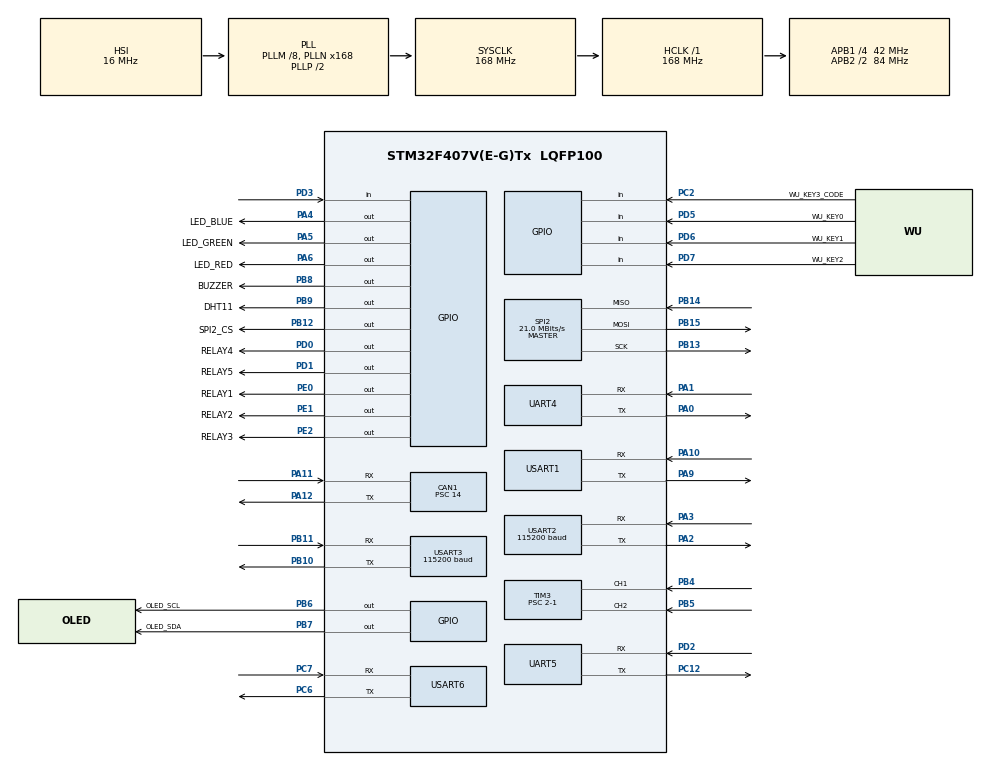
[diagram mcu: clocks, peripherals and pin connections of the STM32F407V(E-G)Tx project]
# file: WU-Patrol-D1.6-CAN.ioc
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CAN1.AWUM=ENABLE
CAN1.BS1=CAN_BS1_15TQ
CAN1.BS2=CAN_BS2_8TQ
CAN1.CalculateBaudRate=124999
CAN1.CalculateTimeBit=8000
CAN1.CalculateTimeQuantum=333.33333333333337
CAN1.Mode=CAN_MODE_NORMAL
CAN1.NART=ENABLE
CAN1.Prescaler=14
CAN1.SJW=CAN_SJW_1TQ
Dma.Request0=USART1_RX
Dma.Request1=USART1_TX
Dma.Request10=USART6_RX
Dma.Request11=USART6_TX
Dma.Request2=USART3_RX
Dma.Request3=USART3_TX
Dma.Request4=USART2_RX
Dma.Request5=USART2_TX
Dma.Request6=UART4_RX
Dma.Request7=UART4_TX
Dma.Request8=UART5_RX
Dma.Request9=UART5_TX
Dma.UART4_RX.6.Direction=DMA_PERIPH_TO_MEMORY
Dma.UART4_RX.6.FIFOMode=DMA_FIFOMODE_DISABLE
Dma.UART4_RX.6.Instance=DMA1_Stream2
Dma.UART4_RX.6.MemDataAlignment=DMA_MDATAALIGN_BYTE
Dma.UART4_RX.6.MemInc=DMA_MINC_ENABLE
Dma.UART4_RX.6.Mode=DMA_CIRCULAR
Dma.UART4_RX.6.PeriphDataAlignment=DMA_PDATAALIGN_BYTE
Dma.UART4_RX.6.PeriphInc=DMA_PINC_DISABLE
Dma.UART4_RX.6.Priority=DMA_PRIORITY_LOW
Dma.UART4_TX.7.Direction=DMA_MEMORY_TO_PERIPH
Dma.UART4_TX.7.FIFOMode=DMA_FIFOMODE_DISABLE
Dma.UART4_TX.7.Instance=DMA1_Stream4
Dma.UART4_TX.7.MemDataAlignment=DMA_MDATAALIGN_BYTE
Dma.UART4_TX.7.MemInc=DMA_MINC_ENABLE
Dma.UART4_TX.7.Mode=DMA_NORMAL
Dma.UART4_TX.7.PeriphDataAlignment=DMA_PDATAALIGN_BYTE
Dma.UART4_TX.7.PeriphInc=DMA_PINC_DISABLE
Dma.UART4_TX.7.Priority=DMA_PRIORITY_LOW
Dma.UART5_RX.8.Direction=DMA_PERIPH_TO_MEMORY
Dma.UART5_RX.8.FIFOMode=DMA_FIFOMODE_DISABLE
Dma.UART5_RX.8.Instance=DMA1_Stream0
Dma.UART5_RX.8.MemDataAlignment=DMA_MDATAALIGN_BYTE
Dma.UART5_RX.8.MemInc=DMA_MINC_ENABLE
Dma.UART5_RX.8.Mode=DMA_CIRCULAR
Dma.UART5_RX.8.PeriphDataAlignment=DMA_PDATAALIGN_BYTE
Dma.UART5_RX.8.PeriphInc=DMA_PINC_DISABLE
Dma.UART5_RX.8.Priority=DMA_PRIORITY_LOW
Dma.UART5_TX.9.Direction=DMA_MEMORY_TO_PERIPH
Dma.UART5_TX.9.FIFOMode=DMA_FIFOMODE_DISABLE
Dma.UART5_TX.9.Instance=DMA1_Stream7
Dma.UART5_TX.9.MemDataAlignment=DMA_MDATAALIGN_BYTE
Dma.UART5_TX.9.MemInc=DMA_MINC_ENABLE
Dma.UART5_TX.9.Mode=DMA_NORMAL
Dma.UART5_TX.9.PeriphDataAlignment=DMA_PDATAALIGN_BYTE
Dma.UART5_TX.9.PeriphInc=DMA_PINC_DISABLE
Dma.UART5_TX.9.Priority=DMA_PRIORITY_LOW
Dma.USART1_RX.0.Direction=DMA_PERIPH_TO_MEMORY
Dma.USART1_RX.0.FIFOMode=DMA_FIFOMODE_DISABLE
Dma.USART1_RX.0.Instance=DMA2_Stream2
Dma.USART1_RX.0.MemDataAlignment=DMA_MDATAALIGN_BYTE
Dma.USART1_RX.0.MemInc=DMA_MINC_ENABLE
Dma.USART1_RX.0.Mode=DMA_CIRCULAR
Dma.USART1_RX.0.PeriphDataAlignment=DMA_PDATAALIGN_BYTE
Dma.USART1_RX.0.PeriphInc=DMA_PINC_DISABLE
Dma.USART1_RX.0.Priority=DMA_PRIORITY_LOW
Dma.USART1_TX.1.Direction=DMA_MEMORY_TO_PERIPH
Dma.USART1_TX.1.FIFOMode=DMA_FIFOMODE_DISABLE
Dma.USART1_TX.1.Instance=DMA2_Stream7
Dma.USART1_TX.1.MemDataAlignment=DMA_MDATAALIGN_BYTE
Dma.USART1_TX.1.MemInc=DMA_MINC_ENABLE
Dma.USART1_TX.1.Mode=DMA_NORMAL
Dma.USART1_TX.1.PeriphDataAlignment=DMA_PDATAALIGN_BYTE
Dma.USART1_TX.1.PeriphInc=DMA_PINC_DISABLE
Dma.USART1_TX.1.Priority=DMA_PRIORITY_LOW
Dma.USART2_RX.4.Direction=DMA_PERIPH_TO_MEMORY
Dma.USART2_RX.4.FIFOMode=DMA_FIFOMODE_DISABLE
Dma.USART2_RX.4.Instance=DMA1_Stream5
Dma.USART2_RX.4.MemDataAlignment=DMA_MDATAALIGN_BYTE
Dma.USART2_RX.4.MemInc=DMA_MINC_ENABLE
Dma.USART2_RX.4.Mode=DMA_CIRCULAR
Dma.USART2_RX.4.PeriphDataAlignment=DMA_PDATAALIGN_BYTE
Dma.USART2_RX.4.PeriphInc=DMA_PINC_DISABLE
Dma.USART2_RX.4.Priority=DMA_PRIORITY_LOW
Dma.USART2_TX.5.Direction=DMA_MEMORY_TO_PERIPH
Dma.USART2_TX.5.FIFOMode=DMA_FIFOMODE_DISABLE
Dma.USART2_TX.5.Instance=DMA1_Stream6
Dma.USART2_TX.5.MemDataAlignment=DMA_MDATAALIGN_BYTE
Dma.USART2_TX.5.MemInc=DMA_MINC_ENABLE
Dma.USART2_TX.5.Mode=DMA_NORMAL
Dma.USART2_TX.5.PeriphDataAlignment=DMA_PDATAALIGN_BYTE
Dma.USART2_TX.5.PeriphInc=DMA_PINC_DISABLE
Dma.USART2_TX.5.Priority=DMA_PRIORITY_LOW
Dma.USART3_RX.2.Direction=DMA_PERIPH_TO_MEMORY
Dma.USART3_RX.2.FIFOMode=DMA_FIFOMODE_DISABLE
Dma.USART3_RX.2.Instance=DMA1_Stream1
Dma.USART3_RX.2.MemDataAlignment=DMA_MDATAALIGN_BYTE
Dma.USART3_RX.2.MemInc=DMA_MINC_ENABLE
Dma.USART3_RX.2.Mode=DMA_CIRCULAR
Dma.USART3_RX.2.PeriphDataAlignment=DMA_PDATAALIGN_BYTE
Dma.USART3_RX.2.PeriphInc=DMA_PINC_DISABLE
Dma.USART3_RX.2.Priority=DMA_PRIORITY_LOW
Dma.USART3_TX.3.Direction=DMA_MEMORY_TO_PERIPH
Dma.USART3_TX.3.FIFOMode=DMA_FIFOMODE_DISABLE
Dma.USART3_TX.3.Instance=DMA1_Stream3
Dma.USART3_TX.3.MemDataAlignment=DMA_MDATAALIGN_BYTE
Dma.USART3_TX.3.MemInc=DMA_MINC_ENABLE
Dma.USART3_TX.3.Mode=DMA_NORMAL
Dma.USART3_TX.3.PeriphDataAlignment=DMA_PDATAALIGN_BYTE
Dma.USART3_TX.3.PeriphInc=DMA_PINC_DISABLE
Dma.USART3_TX.3.Priority=DMA_PRIORITY_LOW
Dma.USART6_RX.10.Direction=DMA_PERIPH_TO_MEMORY
Dma.USART6_RX.10.FIFOMode=DMA_FIFOMODE_DISABLE
Dma.USART6_RX.10.Instance=DMA2_Stream1
Dma.USART6_RX.10.MemDataAlignment=DMA_MDATAALIGN_BYTE
Dma.USART6_RX.10.MemInc=DMA_MINC_ENABLE
Dma.USART6_RX.10.Mode=DMA_CIRCULAR
Dma.USART6_RX.10.PeriphDataAlignment=DMA_PDATAALIGN_BYTE
Dma.USART6_RX.10.PeriphInc=DMA_PINC_DISABLE
Dma.USART6_RX.10.Priority=DMA_PRIORITY_LOW
Dma.USART6_TX.11.Direction=DMA_MEMORY_TO_PERIPH
Dma.USART6_TX.11.FIFOMode=DMA_FIFOMODE_DISABLE
Dma.USART6_TX.11.Instance=DMA2_Stream6
Dma.USART6_TX.11.MemDataAlignment=DMA_MDATAALIGN_BYTE
Dma.USART6_TX.11.MemInc=DMA_MINC_ENABLE
Dma.USART6_TX.11.Mode=DMA_NORMAL
Dma.USART6_TX.11.PeriphDataAlignment=DMA_PDATAALIGN_BYTE
Dma.USART6_TX.11.PeriphInc=DMA_PINC_DISABLE
Dma.USART6_TX.11.Priority=DMA_PRIORITY_LOW
FREERTOS.Mutexes01=oledMutex,Dynamic,NULL
FREERTOS.Queues01=uart2Queue,16,uint16_t,0,Dynamic,NULL,NULL
FREERTOS.Tasks01=defaultTask,-3,128,StartDefaultTask,Default,NULL,Dynamic,NULL,NULL;WU_Task02,-2,128,LED_WUStartTask02,As external,NULL,Dynamic,NULL,NULL;WU_Task03,-2,128,KEY_WUStartTask03,As external,NULL,Dynamic,NULL,NULL;WU_Task04,0,1024,OLED_WUStartTask04,As external,NULL,Dynamic,NULL,NULL;WU_Task05,-2,128,MAIN_WUStartTask05,As external,NULL,Dynamic,NULL,NULL
FREERTOS.Timers01=WUTimer01,Callback01,osTimerPeriodic,As external,NULL,Dynamic,NULL
FREERTOS.configUSE_NEWLIB_REENTRANT=1
FREERTOS.configUSE_TIMERS=1
IWDG.Prescaler=IWDG_PRESCALER_32
IWDG.Reload=2500
Mcu.Family=STM32F4
Mcu.Name=STM32F407V(E-G)Tx
Mcu.Package=LQFP100
NVIC.DMA1_Stream0_IRQn=true\:5\:0\:false\:false\:true\:true\:false\:true\:true
NVIC.DMA1_Stream1_IRQn=true\:5\:0\:false\:false\:true\:true\:false\:true\:true
NVIC.DMA1_Stream2_IRQn=true\:5\:0\:false\:false\:true\:true\:false\:true\:true
NVIC.DMA1_Stream3_IRQn=true\:5\:0\:false\:false\:true\:true\:false\:true\:true
NVIC.DMA1_Stream4_IRQn=true\:5\:0\:false\:false\:true\:true\:false\:true\:true
NVIC.DMA1_Stream5_IRQn=true\:5\:0\:false\:false\:true\:true\:false\:true\:true
NVIC.DMA1_Stream6_IRQn=true\:5\:0\:false\:false\:true\:true\:false\:true\:true
NVIC.DMA1_Stream7_IRQn=true\:5\:0\:false\:false\:true\:true\:false\:true\:true
NVIC.DMA2_Stream1_IRQn=true\:5\:0\:false\:false\:true\:true\:false\:true\:true
NVIC.DMA2_Stream2_IRQn=true\:5\:0\:false\:false\:true\:true\:false\:true\:true
NVIC.DMA2_Stream6_IRQn=true\:5\:0\:false\:false\:true\:true\:false\:true\:true
NVIC.DMA2_Stream7_IRQn=true\:5\:0\:false\:false\:true\:true\:false\:true\:true
NVIC.PriorityGroup=NVIC_PRIORITYGROUP_4
NVIC.TIM2_IRQn=true\:15\:0\:false\:false\:true\:false\:false\:true\:true
NVIC.TIM6_DAC_IRQn=true\:6\:0\:true\:false\:true\:true\:true\:true\:true
NVIC.TimeBase=TIM2_IRQn
NVIC.TimeBaseIP=TIM2
NVIC.UART4_IRQn=true\:5\:0\:false\:false\:true\:true\:true\:true\:true
NVIC.UART5_IRQn=true\:5\:0\:false\:false\:true\:true\:true\:true\:true
NVIC.USART1_IRQn=true\:5\:0\:false\:false\:true\:true\:true\:true\:true
NVIC.USART2_IRQn=true\:5\:0\:false\:false\:true\:true\:true\:true\:true
NVIC.USART3_IRQn=true\:5\:0\:false\:false\:true\:true\:true\:true\:true
NVIC.USART6_IRQn=true\:5\:0\:false\:false\:true\:true\:true\:true\:true
PA0-WKUP.Mode=Asynchronous
PA0-WKUP.Signal=UART4_TX
PA1.Mode=Asynchronous
PA1.Signal=UART4_RX
PA10.Mode=Asynchronous
PA10.Signal=USART1_RX
PA11.Mode=CAN_Activate
PA11.Signal=CAN1_RX
PA12.Mode=CAN_Activate
PA12.Signal=CAN1_TX
PA13.Mode=Serial_Wire
PA13.Signal=SYS_JTMS-SWDIO
PA14.Mode=Serial_Wire
PA14.Signal=SYS_JTCK-SWCLK
PA2.Mode=Asynchronous
PA2.Signal=USART2_TX
PA3.Mode=Asynchronous
PA3.Signal=USART2_RX
PA4.GPIO_Label=LED_BLUE
PA4.GPIO_PuPd=GPIO_PULLUP
PA4.Signal=GPIO_Output
PA5.GPIO_Label=LED_GREEN
PA5.GPIO_PuPd=GPIO_PULLUP
PA5.Signal=GPIO_Output
PA6.GPIO_Label=LED_RED
PA6.Signal=GPIO_Output
PA9.Mode=Asynchronous
PA9.Signal=USART1_TX
PB10.Mode=Asynchronous
PB10.Signal=USART3_TX
PB11.Mode=Asynchronous
PB11.Signal=USART3_RX
PB12.GPIO_Label=SPI2_CS
PB12.GPIO_PuPd=GPIO_PULLUP
PB12.Signal=GPIO_Output
PB13.Mode=Full_Duplex_Master
PB13.Signal=SPI2_SCK
PB14.Mode=Full_Duplex_Master
PB14.Signal=SPI2_MISO
PB15.Mode=Full_Duplex_Master
PB15.Signal=SPI2_MOSI
PB4.GPIO_PuPd=GPIO_PULLUP
PB4.GPIO_Speed=GPIO_SPEED_FREQ_VERY_HIGH
PB4.Signal=S_TIM3_CH1
PB5.GPIO_PuPd=GPIO_PULLUP
PB5.GPIO_Speed=GPIO_SPEED_FREQ_VERY_HIGH
PB5.Signal=S_TIM3_CH2
PB6.GPIO_Label=OLED_SCL
PB6.GPIO_PuPd=GPIO_PULLUP
PB6.Signal=GPIO_Output
PB7.GPIO_Label=OLED_SDA
PB7.GPIO_PuPd=GPIO_PULLUP
PB7.Signal=GPIO_Output
PB8.GPIO_Label=BUZZER
PB8.Signal=GPIO_Output
PB9.GPIO_Label=DHT11
PB9.Signal=GPIO_Output
PC12.Mode=Asynchronous
PC12.Signal=UART5_TX
PC2.GPIO_Label=WU_KEY3_CODE
PC2.GPIO_PuPd=GPIO_PULLUP
PC2.Signal=GPIO_Input
PC6.Mode=Asynchronous
PC6.Signal=USART6_TX
PC7.Mode=Asynchronous
PC7.Signal=USART6_RX
PD0.GPIO_Label=RELAY4
PD0.GPIO_PuPd=GPIO_PULLDOWN
PD0.Signal=GPIO_Output
PD1.GPIO_Label=RELAY5
PD1.GPIO_PuPd=GPIO_PULLDOWN
PD1.Signal=GPIO_Output
PD2.Mode=Asynchronous
PD2.Signal=UART5_RX
PD3.Signal=GPIO_Input
PD5.GPIO_Label=WU_KEY0
PD5.GPIO_PuPd=GPIO_PULLUP
PD5.Signal=GPIO_Input
PD6.GPIO_Label=WU_KEY1
PD6.GPIO_PuPd=GPIO_PULLUP
PD6.Signal=GPIO_Input
PD7.GPIO_Label=WU_KEY2
PD7.GPIO_PuPd=GPIO_PULLUP
PD7.Signal=GPIO_Input
PE0.GPIO_Label=RELAY1
PE0.GPIO_PuPd=GPIO_PULLUP
PE0.Signal=GPIO_Output
PE1.GPIO_Label=RELAY2
PE1.GPIO_PuPd=GPIO_PULLUP
PE1.Signal=GPIO_Output
PE2.GPIO_Label=RELAY3
PE2.GPIO_PuPd=GPIO_PULLUP
PE2.Signal=GPIO_Output
PH0-OSC_IN.Mode=HSE-External-Oscillator
PH0-OSC_IN.Signal=RCC_OSC_IN
PH1-OSC_OUT.Mode=HSE-External-Oscillator
PH1-OSC_OUT.Signal=RCC_OSC_OUT
ProjectManager.HeapSize=0x200
ProjectManager.StackSize=0x400
ProjectManager.TargetToolchain=STM32CubeIDE
RCC.48MHZClocksFreq_Value=84000000
RCC.AHBFreq_Value=168000000
RCC.APB1CLKDivider=RCC_HCLK_DIV4
RCC.APB1Freq_Value=42000000
RCC.APB1TimFreq_Value=84000000
RCC.APB2CLKDivider=RCC_HCLK_DIV2
RCC.APB2Freq_Value=84000000
RCC.APB2TimFreq_Value=168000000
RCC.CortexFreq_Value=168000000
RCC.HCLKFreq_Value=168000000
RCC.HSE_VALUE=25000000
RCC.HSI_VALUE=16000000
RCC.LSE_VALUE=32768
RCC.PLLM=8
RCC.PLLN=168
RCC.SYSCLKFreq_VALUE=168000000
RCC.SYSCLKSource=RCC_SYSCLKSOURCE_PLLCLK
RCC.VCOOutputFreq_Value=336000000
SH.S_TIM3_CH1.0=TIM3_CH1,Encoder_Interface
SH.S_TIM3_CH2.0=TIM3_CH2,Encoder_Interface
SPI2.CalculateBaudRate=21.0 MBits/s
SPI2.Direction=SPI_DIRECTION_2LINES
SPI2.Mode=SPI_MODE_MASTER
SPI2.VirtualType=VM_MASTER
TIM3.IC1Filter=15
TIM3.Prescaler=2-1
TIM6.Period=1000-1
TIM6.Prescaler=42-1
TIM6.TIM_MasterOutputTrigger=TIM_TRGO_RESET
UART4.VirtualMode=Asynchronous
UART5.VirtualMode=Asynchronous
USART1.VirtualMode=VM_ASYNC
USART2.BaudRate=115200
USART2.VirtualMode=VM_ASYNC
USART3.BaudRate=115200
USART3.VirtualMode=VM_ASYNC
USART6.VirtualMode=VM_ASYNC
VP_FREERTOS_VS_CMSIS_V1.Mode=CMSIS_V1
VP_IWDG_VS_IWDG.Mode=IWDG_Activate
VP_SYS_VS_tim2.Mode=TIM2
VP_TIM6_VS_ClockSourceINT.Mode=Enable_Timer
board=custom
FREERTOS.configTOTAL_HEAP_SIZE=65536

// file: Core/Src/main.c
/* USER CODE BEGIN Header */
/**
 ******************************************************************************
 * @file           : main.c
 * @brief          : Main program body
 ******************************************************************************
 * @attention
 *
 * Copyright (c) 2024 STMicroelectronics.
 * All rights reserved.
 *
 * This software is licensed under terms that can be found in the LICENSE file
 * in the root directory of this software component.
 * If no LICENSE file comes with this software, it is provided AS-IS.
 *
 ******************************************************************************
 */
/* USER CODE END Header */
#include "main.h"
#include "cmsis_os.h"
#include "can.h"
#include "dma.h"
#include "iwdg.h"
#include "spi.h"
#include "tim.h"
#include "usart.h"
#include "gpio.h"

/* USER CODE BEGIN Includes */

#include "string.h"
#include "stdio.h"
#include "../../WU/led/led.h"
#include "../../WU/key/key.h"
#include "../../WU/DHT11/DHT11.h"
#include "../../WU/callback/callback.h"
#include "../../WU/wu_main/wu_main.h"
#include "../../WU/wu_init/wu_init.h"
#include "../../WU/wu_usart/wu_usart.h"
#include "../../WU/W25Q/W25Q.h"
#include "../../WU/wu_can/wu_can.h"

/* USER CODE END Includes */

/* USER CODE BEGIN PTD */

u8 i,j;
float t=0;

//int rest_dat=0;

uint8_t rising_flag=0;
uint8_t falling_flag=0;
uint8_t overflow_val=0;
uint16_t cnt_val=0;

uint32_t temp=0;

/* USER CODE END PTD */

/* USER CODE BEGIN PD */

unsigned char led_sgd;
unsigned char buz_sgd;
unsigned char Led_Flag_Bit;
unsigned int T_100ms;

unsigned char at_Flag_Bit;
unsigned int T_800ms;

unsigned int T_1500ms,T_1500ms_flag_dat;

unsigned char oled_xs_dat=0;

unsigned char t_dat=1;

unsigned char T_20ms;
unsigned char T_20ms_flag_dat;

unsigned char ScrollDisplay_dat;

/* USER CODE END PD */

/* USER CODE BEGIN PM */

uint8_t wu_t1_dat[]="Hello,Usart1!";
uint8_t wu_r1_dat[100];

uint8_t wu_t2_dat[]="Hello,Usart2!";
uint8_t wu_r2_dat[100];

uint8_t wu_t3_dat[]="Hello,Usart3!";
uint8_t wu_r3_dat[100];

uint8_t wu_t4_dat[]="Hello,Usart4!";
uint8_t wu_r4_dat[100];

uint8_t wu_t5_dat[]="Hello,Usart5!";
uint8_t wu_r5_dat[100];

uint8_t wu_t6_dat[]="Hello,Usart6!";
uint8_t wu_r6_dat[100];

uint8_t control[] = "Z";

/* USER CODE END PM */

void SystemClock_Config(void);
void MX_FREERTOS_Init(void);

int main(void)
{

  /* MCU Configuration--------------------------------------------------------*/

  /* Reset of all peripherals, Initializes the Flash interface and the Systick. */
  HAL_Init();

  /* Configure the system clock */
  SystemClock_Config();

  /* Initialize all configured peripherals */
  MX_GPIO_Init();
  MX_DMA_Init();
  MX_USART1_UART_Init();
  MX_USART3_UART_Init();
  MX_TIM3_Init();
  MX_TIM6_Init();
  MX_IWDG_Init();
  MX_USART2_UART_Init();
  MX_UART4_Init();
  MX_UART5_Init();
  MX_USART6_UART_Init();
  MX_SPI2_Init();
  MX_CAN1_Init();
  /* USER CODE BEGIN 2 */
	/*======================================================================================================================================================*/
	WU_Init();//------------------------------------------------------/*个人硬解初始*/

	unsigned char led_dat1=0,led_dat2=0;
	/*======================================================================================================================================================*/
  /* USER CODE END 2 */

  /* Call init function for freertos objects (in cmsis_os2.c) */
  MX_FREERTOS_Init();

  /* Start scheduler */
  osKernelStart();

  /* We should never get here as control is now taken by the scheduler */

  /* Infinite loop */
  /* USER CODE BEGIN WHILE */
	while (1)
	{
		/******************************************************************************************************************************************************/
//		LED_GREEN(led_dat1==led_dat2);
//		//HAL_Delay(3500);
//		/*----------------------------------------------------------------------------------------------------------------------------------------------------*/
//		Wu_xsp_Proc();/*------------------------------------------------显示屏相关函*/
//		Wu_Led_Proc();/*------------------------------------------------LED**相关函数*/
//		Wu_Key_Proc();/*------------------------------------------------按键*相关函数-*/
//		Wu_Mai_Proc();/*------------------------------------------------主要*相关函数-*/
//		/*----------------------------------------------------------------------------------------------------------------------------------------------------*/
//		led_dat1=1;
//		HAL_IWDG_Refresh(&hiwdg);//-------------------------------------喂狗
		/******************************************************************************************************************************************************/
    /* USER CODE END WHILE */

	}
}

void SystemClock_Config(void)
{
  RCC_OscInitTypeDef RCC_OscInitStruct = {0};
  RCC_ClkInitTypeDef RCC_ClkInitStruct = {0};

  /** Configure the main internal regulator output voltage
  */
  __HAL_RCC_PWR_CLK_ENABLE();
  __HAL_PWR_VOLTAGESCALING_CONFIG(PWR_REGULATOR_VOLTAGE_SCALE1);

  /** Initializes the RCC Oscillators according to the specified parameters
  * in the RCC_OscInitTypeDef structure.
  */
  RCC_OscInitStruct.OscillatorType = RCC_OSCILLATORTYPE_HSI|RCC_OSCILLATORTYPE_LSI;
  RCC_OscInitStruct.HSIState = RCC_HSI_ON;
  RCC_OscInitStruct.HSICalibrationValue = RCC_HSICALIBRATION_DEFAULT;
  RCC_OscInitStruct.LSIState = RCC_LSI_ON;
  RCC_OscInitStruct.PLL.PLLState = RCC_PLL_ON;
  RCC_OscInitStruct.PLL.PLLSource = RCC_PLLSOURCE_HSI;
  RCC_OscInitStruct.PLL.PLLM = 8;
  RCC_OscInitStruct.PLL.PLLN = 168;
  RCC_OscInitStruct.PLL.PLLP = RCC_PLLP_DIV2;
  RCC_OscInitStruct.PLL.PLLQ = 4;
  if (HAL_RCC_OscConfig(&RCC_OscInitStruct) != HAL_OK)
  {
    Error_Handler();
  }

  /** Initializes the CPU, AHB and APB buses clocks
  */
  RCC_ClkInitStruct.ClockType = RCC_CLOCKTYPE_HCLK|RCC_CLOCKTYPE_SYSCLK
                              |RCC_CLOCKTYPE_PCLK1|RCC_CLOCKTYPE_PCLK2;
  RCC_ClkInitStruct.SYSCLKSource = RCC_SYSCLKSOURCE_PLLCLK;
  RCC_ClkInitStruct.AHBCLKDivider = RCC_SYSCLK_DIV1;
  RCC_ClkInitStruct.APB1CLKDivider = RCC_HCLK_DIV4;
  RCC_ClkInitStruct.APB2CLKDivider = RCC_HCLK_DIV2;

  if (HAL_RCC_ClockConfig(&RCC_ClkInitStruct, FLASH_LATENCY_5) != HAL_OK)
  {
    Error_Handler();
  }
}

void HAL_TIM_PeriodElapsedCallback(TIM_HandleTypeDef *htim)
{
  if (htim->Instance == TIM2) {
    HAL_IncTick();
  }
  /* USER CODE BEGIN Callback 1 */

  	if(htim == &htim6){

  		if(++T_10ms==10){
  			T_10ms=0;
  			Key_Flag_Bit=1;
  		}

  		if(++T_100ms==500){
  			T_100ms=0;
  			Led_Flag_Bit^=1;
  		}

  		LED_BLUE(Led_Flag_Bit);//工作指示闪光�??

  		if(++T_800ms==800){
  			T_800ms=0;
  			at_Flag_Bit^=1;
  		}

  		if(++T_1500ms==1500)
  		{
  			T_1500ms=0;
  			T_1500ms_flag_dat^=1;
  			HAL_IWDG_Refresh(&hiwdg);//-------------------------------------喂狗
  		}

  		if(Key_Cnt_Flag){				//长按计时部分
  			if(++Key_Cnt_Flag==1000){	//以认
  			Key_Cnt_Flag = 0;
  			if(Key_Val){	//没松
  				key_dat_2^=1;//执行长按动作

  				}else{
  					key_dat_3^=1;//执行短按动作

  				}
  			}
  		}

  		if(++T_5000ms==5000)
  		{
  			T_5000ms=0;
  			if(++T_5000ms_flag_dat==4)T_5000ms_flag_dat=0;
  		}

  	}

  /* USER CODE END Callback 1 */
}

void Error_Handler(void)
{
	__disable_irq();
	while (1)
	{
	}
}

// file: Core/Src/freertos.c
/* USER CODE BEGIN Header */
/**
  ******************************************************************************
  * File Name          : freertos.c
  * Description        : Code for freertos applications
  ******************************************************************************
  * @attention
  *
  * Copyright (c) 2024 STMicroelectronics.
  * All rights reserved.
  *
  * This software is licensed under terms that can be found in the LICENSE file
  * in the root directory of this software component.
  * If no LICENSE file comes with this software, it is provided AS-IS.
  *
  ******************************************************************************
  */
/* USER CODE END Header */

#include "FreeRTOS.h"
#include "task.h"
#include "main.h"
#include "cmsis_os.h"

/* USER CODE BEGIN Includes */
#include "board_telemetry.h"

/* USER CODE END Includes */

/* USER CODE BEGIN Variables */
osThreadId Board_CommTaskHandle;

/* USER CODE END Variables */
osThreadId defaultTaskHandle;
osThreadId WU_Task02Handle;
osThreadId WU_Task03Handle;
osThreadId WU_Task04Handle;
osThreadId WU_Task05Handle;
osMessageQId uart2QueueHandle;
osTimerId WUTimer01Handle;
osMutexId oledMutexHandle;

void StartDefaultTask(void const * argument);
extern void LED_WUStartTask02(void const * argument);
extern void KEY_WUStartTask03(void const * argument);
extern void OLED_WUStartTask04(void const * argument);
extern void MAIN_WUStartTask05(void const * argument);
extern void Callback01(void const * argument);

void MX_FREERTOS_Init(void); /* (MISRA C 2004 rule 8.1) */

/* GetIdleTaskMemory prototype (linked to static allocation support) */
void vApplicationGetIdleTaskMemory( StaticTask_t **ppxIdleTaskTCBBuffer, StackType_t **ppxIdleTaskStackBuffer, uint32_t *pulIdleTaskStackSize );

/* GetTimerTaskMemory prototype (linked to static allocation support) */
void vApplicationGetTimerTaskMemory( StaticTask_t **ppxTimerTaskTCBBuffer, StackType_t **ppxTimerTaskStackBuffer, uint32_t *pulTimerTaskStackSize );

/* USER CODE BEGIN GET_IDLE_TASK_MEMORY */
static StaticTask_t xIdleTaskTCBBuffer;
static StackType_t xIdleStack[configMINIMAL_STACK_SIZE];

void vApplicationGetIdleTaskMemory( StaticTask_t **ppxIdleTaskTCBBuffer, StackType_t **ppxIdleTaskStackBuffer, uint32_t *pulIdleTaskStackSize )
{
  *ppxIdleTaskTCBBuffer = &xIdleTaskTCBBuffer;
  *ppxIdleTaskStackBuffer = &xIdleStack[0];
  *pulIdleTaskStackSize = configMINIMAL_STACK_SIZE;
  /* place for user code */
}
/* USER CODE END GET_IDLE_TASK_MEMORY */

/* USER CODE BEGIN GET_TIMER_TASK_MEMORY */
static StaticTask_t xTimerTaskTCBBuffer;
static StackType_t xTimerStack[configTIMER_TASK_STACK_DEPTH];

void vApplicationGetTimerTaskMemory( StaticTask_t **ppxTimerTaskTCBBuffer, StackType_t **ppxTimerTaskStackBuffer, uint32_t *pulTimerTaskStackSize )
{
  *ppxTimerTaskTCBBuffer = &xTimerTaskTCBBuffer;
  *ppxTimerTaskStackBuffer = &xTimerStack[0];
  *pulTimerTaskStackSize = configTIMER_TASK_STACK_DEPTH;
  /* place for user code */
}
/* USER CODE END GET_TIMER_TASK_MEMORY */

void MX_FREERTOS_Init(void) {
  /* Create the mutex(es) */
  /* definition and creation of oledMutex */
  osMutexDef(oledMutex);
  oledMutexHandle = osMutexCreate(osMutex(oledMutex));

  /* Create the timer(s) */
  /* definition and creation of WUTimer01 */
  osTimerDef(WUTimer01, Callback01);
  WUTimer01Handle = osTimerCreate(osTimer(WUTimer01), osTimerPeriodic, NULL);

  /* Create the queue(s) */
  /* definition and creation of uart2Queue */
  osMessageQDef(uart2Queue, 16, uint16_t);
  uart2QueueHandle = osMessageCreate(osMessageQ(uart2Queue), NULL);

  /* Create the thread(s) */
  /* definition and creation of defaultTask */
  osThreadDef(defaultTask, StartDefaultTask, osPriorityIdle, 0, 128);
  defaultTaskHandle = osThreadCreate(osThread(defaultTask), NULL);

  /* definition and creation of WU_Task02 */
  osThreadDef(WU_Task02, LED_WUStartTask02, osPriorityLow, 0, 128);
  WU_Task02Handle = osThreadCreate(osThread(WU_Task02), NULL);

  /* definition and creation of WU_Task03 */
  osThreadDef(WU_Task03, KEY_WUStartTask03, osPriorityLow, 0, 128);
  WU_Task03Handle = osThreadCreate(osThread(WU_Task03), NULL);

  /* definition and creation of WU_Task04 */
#if defined(WU_USE_ASTRA_UI)
  osThreadDef(WU_Task04, OLED_WUStartTask04, osPriorityNormal, 0, 1024);
#else
  osThreadDef(WU_Task04, OLED_WUStartTask04, osPriorityLow, 0, 128);
#endif
  WU_Task04Handle = osThreadCreate(osThread(WU_Task04), NULL);

  /* definition and creation of WU_Task05 */
  osThreadDef(WU_Task05, MAIN_WUStartTask05, osPriorityLow, 0, 128);
  WU_Task05Handle = osThreadCreate(osThread(WU_Task05), NULL);

  /* USER CODE BEGIN RTOS_THREADS */
  /* 独立串口任务，512 个栈字；显示器离线时仍能上报状态。 */
  osThreadDef(Board_Comm, Board_CommTask, osPriorityNormal, 0, 512);
  Board_CommTaskHandle = osThreadCreate(osThread(Board_Comm), NULL);
  /* USER CODE END RTOS_THREADS */

}

void StartDefaultTask(void const * argument)
{
  for(;;)
  {
    osDelay(1);
  }
}
